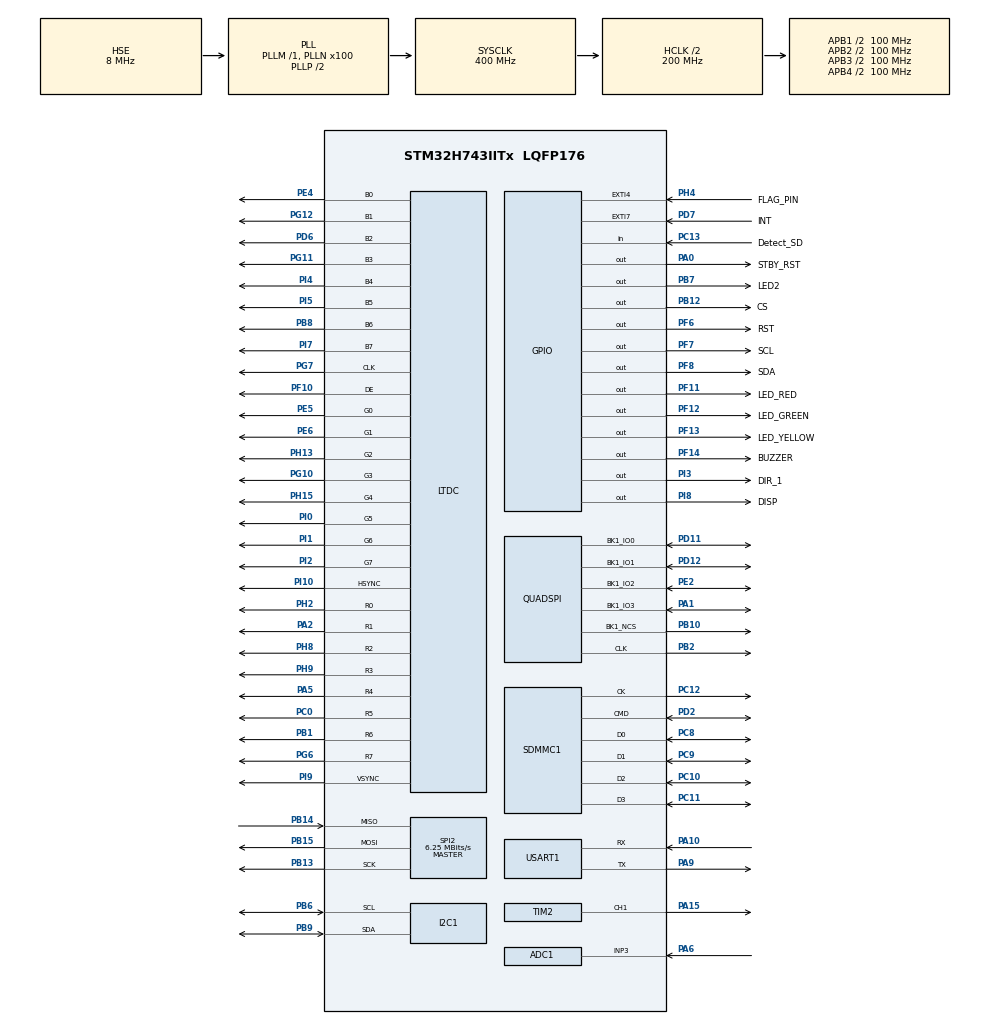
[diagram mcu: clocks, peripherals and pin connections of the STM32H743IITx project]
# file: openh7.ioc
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ADC1.Channel-0\#ChannelRegularConversion=ADC_CHANNEL_3
ADC1.NbrOfConversionFlag=1
ADC1.OffsetNumber-0\#ChannelRegularConversion=ADC_OFFSET_NONE
ADC1.OffsetSignedSaturation-0\#ChannelRegularConversion=DISABLE
ADC1.Rank-0\#ChannelRegularConversion=1
ADC1.SamplingTime-0\#ChannelRegularConversion=ADC_SAMPLETIME_1CYCLE_5
ADC1.master=1
ADC3.AWD1HighThreshold=15896
ADC3.AWD1ITMode=ENABLE
ADC3.AWD1LowThreshold=10881
ADC3.Channel-0\#ChannelRegularConversion=ADC_CHANNEL_TEMPSENSOR
ADC3.ContinuousConvMode=ENABLE
ADC3.EnableAnalogWatchDog1=true
ADC3.NbrOfConversionFlag=1
ADC3.OffsetNumber-0\#ChannelRegularConversion=ADC_OFFSET_NONE
ADC3.OffsetSignedSaturation-0\#ChannelRegularConversion=DISABLE
ADC3.Rank-0\#ChannelRegularConversion=1
ADC3.SamplingTime-0\#ChannelRegularConversion=ADC_SAMPLETIME_810CYCLES_5
ADC3.WatchdogChannel=ADC_CHANNEL_TEMPSENSOR
CORTEX_M7.CPU_DCache=Enabled
CORTEX_M7.CPU_ICache=Enabled
DMA2D.ColorMode=DMA2D_OUTPUT_RGB565
FATFS.BSP.number=1
FATFS0.BSP.STBoard=false
FATFS0.BSP.api=Unknown
FATFS0.BSP.i2caddr=0
FATFS0.BSP.instance=PC13
FATFS0.BSP.ip=GPIO
FATFS0.BSP.mode=Input
FATFS0.BSP.name=Detect_SDIO
FATFS0.BSP.solution=PC13
FREERTOS.Queues01=InfusionQ,8,perfusionFV_parameters,0,Dynamic,NULL,NULL;VolumeQ,8,float,0,Dynamic,NULL,NULL;FlowRateQ,8,float,0,Dynamic,NULL,NULL;TimeQ,8,float,0,Dynamic,NULL,NULL;LastStepQ,2,uint16_t,0,Dynamic,NULL,NULL;RadiusQ,2,uint8_t,0,Dynamic,NULL,NULL;VolumeLeftQ,8,float,0,Dynamic,NULL,NULL;ModeQ,8,uint8_t,0,Dynamic,NULL,NULL;LogQ,16,Log,0,Dynamic,NULL,NULL;AlarmsQ,8,uint8_t,0,Dynamic,NULL,NULL;patientQ,4,patient_dataT,0,Dynamic,NULL,NULL;drugQ,2,DrugT,0,Dynamic,NULL,NULL;BatteryQ,2,battery_info,0,Dynamic,NULL,NULL;TotalVolQ,2,float,0,Dynamic,NULL,NULL
FREERTOS.Tasks01=battery_manage,24,128,StartBatteryManage,Default,NULL,Dynamic,NULL,NULL;Stepper,40,256,Stepper_motor,Default,NULL,Dynamic,NULL,NULL;Connectivity,32,128,Cloud_Connectivity,Default,NULL,Dynamic,NULL,NULL;Sensors,24,256,Sensors_measurements,Default,NULL,Dynamic,NULL,NULL;IHM,25,128,Interface,Default,NULL,Dynamic,NULL,NULL;DataStorage,16,256,StartDataStorage,Default,NULL,Dynamic,NULL,NULL;TouchGFXTask,40,4096,TouchGFX_Task,As external,NULL,Dynamic,NULL,NULL
FREERTOS.configENABLE_FPU=1
FREERTOS.configTOTAL_HEAP_SIZE=32888
FREERTOS.configUSE_NEWLIB_REENTRANT=1
I2C1.SMBusPacketErrorCheckMode=SMBUS_PEC_DISABLE
I2C1.SMBusPeripheralMode=SMBUS_PERIPHERAL_MODE_SMBUS_HOST
I2C1.Timeout=0x000084C4
I2C1.Timing=0x10C0ECFF
LTDC.ActiveH=272
LTDC.ActiveW=480
LTDC.Alpha_L0=255
LTDC.FBStartAdress_L0=0x24000000
LTDC.HBP=3
LTDC.HSync=40
LTDC.ImageHeight_L0=272
LTDC.ImageWidth_L0=480
LTDC.Layers=0
LTDC.PixelFormat_L0=LTDC_PIXEL_FORMAT_RGB565
LTDC.VBP=3
LTDC.VFP=2
LTDC.VSync=9
LTDC.WindowX1_L0=480
LTDC.WindowY1_L0=272
Mcu.Family=STM32H7
Mcu.Name=STM32H743IITx
Mcu.Package=LQFP176
NVIC.ADC3_IRQn=true\:5\:0\:false\:false\:true\:true\:true\:true\:true
NVIC.EXTI4_IRQn=true\:5\:0\:false\:false\:true\:true\:true\:true\:true
NVIC.I2C1_ER_IRQn=true\:5\:0\:false\:false\:true\:true\:true\:true\:true
NVIC.I2C1_EV_IRQn=true\:5\:0\:false\:false\:true\:true\:true\:true\:true
NVIC.LTDC_IRQn=true\:5\:0\:false\:false\:true\:true\:true\:true\:true
NVIC.PriorityGroup=NVIC_PRIORITYGROUP_4
NVIC.SDMMC1_IRQn=true\:5\:0\:false\:false\:true\:true\:true\:true\:true
NVIC.TIM2_IRQn=true\:5\:0\:false\:false\:true\:true\:true\:true\:true
NVIC.TIM3_IRQn=true\:0\:0\:false\:false\:true\:false\:false\:true\:true
NVIC.TimeBase=TIM3_IRQn
NVIC.TimeBaseIP=TIM3
NVIC.USART1_IRQn=true\:5\:0\:false\:false\:true\:true\:true\:true\:true
PA0.GPIO_Label=STBY_RST
PA0.Signal=GPIO_Output
PA1.Mode=Single Bank 1
PA1.Signal=QUADSPI_BK1_IO3
PA10.Mode=Asynchronous
PA10.Signal=USART1_RX
PA13\ (JTMS/SWDIO).Mode=Serial_Wire
PA13\ (JTMS/SWDIO).Signal=DEBUG_JTMS-SWDIO
PA14\ (JTCK/SWCLK).Mode=Serial_Wire
PA14\ (JTCK/SWCLK).Signal=DEBUG_JTCK-SWCLK
PA15\ (JTDI).Signal=S_TIM2_CH1
PA2.Mode=RGB888
PA2.Signal=LTDC_R1
PA5.Mode=RGB888
PA5.Signal=LTDC_R4
PA6.Signal=ADCx_INP3
PA9.Mode=Asynchronous
PA9.Signal=USART1_TX
PB1.Mode=RGB888
PB1.Signal=LTDC_R6
PB10.Mode=Single Bank 1
PB10.Signal=QUADSPI_BK1_NCS
PB12.GPIO_Label=CS
PB12.Signal=GPIO_Output
PB13.Mode=Full_Duplex_Master
PB13.Signal=SPI2_SCK
PB14.Mode=Full_Duplex_Master
PB14.Signal=SPI2_MISO
PB15.Mode=Full_Duplex_Master
PB15.Signal=SPI2_MOSI
PB2.Mode=Single Bank 1
PB2.Signal=QUADSPI_CLK
PB6.Mode=SMBus-two-wire-Interface
PB6.Signal=I2C1_SCL
PB7.GPIO_Label=LED2
PB7.PinState=GPIO_PIN_RESET
PB7.Signal=GPIO_Output
PB8.Mode=RGB888
PB8.Signal=LTDC_B6
PB9.Mode=SMBus-two-wire-Interface
PB9.Signal=I2C1_SDA
PC0.Mode=RGB888
PC0.Signal=LTDC_R5
PC10.Mode=SD_4_bits_Wide_bus
PC10.Signal=SDMMC1_D2
PC11.Mode=SD_4_bits_Wide_bus
PC11.Signal=SDMMC1_D3
PC12.Mode=SD_4_bits_Wide_bus
PC12.Signal=SDMMC1_CK
PC13.GPIO_Label=Detect_SD
PC13.Signal=GPIO_Input
PC8.Mode=SD_4_bits_Wide_bus
PC8.Signal=SDMMC1_D0
PC9.Mode=SD_4_bits_Wide_bus
PC9.Signal=SDMMC1_D1
PD11.Mode=Single Bank 1
PD11.Signal=QUADSPI_BK1_IO0
PD12.Mode=Single Bank 1
PD12.Signal=QUADSPI_BK1_IO1
PD2.Mode=SD_4_bits_Wide_bus
PD2.Signal=SDMMC1_CMD
PD6.Mode=RGB888
PD6.Signal=LTDC_B2
PD7.GPIO_Label=INT
PD7.Signal=GPXTI7
PE2.Mode=Single Bank 1
PE2.Signal=QUADSPI_BK1_IO2
PE4.Mode=RGB888
PE4.Signal=LTDC_B0
PE5.Mode=RGB888
PE5.Signal=LTDC_G0
PE6.Mode=RGB888
PE6.Signal=LTDC_G1
PF10.Mode=RGB888
PF10.Signal=LTDC_DE
PF11.GPIO_Label=LED_RED
PF11.Signal=GPIO_Output
PF12.GPIO_Label=LED_GREEN
PF12.Signal=GPIO_Output
PF13.GPIO_Label=LED_YELLOW
PF13.Signal=GPIO_Output
PF14.GPIO_Label=BUZZER
PF14.Signal=GPIO_Output
PF6.GPIO_Label=RST
PF6.Signal=GPIO_Output
PF7.GPIO_Label=SCL
PF7.Signal=GPIO_Output
PF8.GPIO_Label=SDA
PF8.Signal=GPIO_Output
PG10.Mode=RGB888
PG10.Signal=LTDC_G3
PG11.Mode=RGB888
PG11.Signal=LTDC_B3
PG12.Mode=RGB888
PG12.Signal=LTDC_B1
PG6.Mode=RGB888
PG6.Signal=LTDC_R7
PG7.Mode=RGB888
PG7.Signal=LTDC_CLK
PH0-OSC_IN\ (PH0).Mode=HSE-External-Oscillator
PH0-OSC_IN\ (PH0).Signal=RCC_OSC_IN
PH1-OSC_OUT\ (PH1).Mode=HSE-External-Oscillator
PH1-OSC_OUT\ (PH1).Signal=RCC_OSC_OUT
PH13.Mode=RGB888
PH13.Signal=LTDC_G2
PH15.Mode=RGB888
PH15.Signal=LTDC_G4
PH2.Mode=RGB888
PH2.Signal=LTDC_R0
PH4.GPIO_Label=FLAG_PIN
PH4.GPIO_ModeDefaultEXTI=GPIO_MODE_IT_FALLING
PH4.GPIO_PuPd=GPIO_PULLUP
PH4.Signal=GPXTI4
PH8.Mode=RGB888
PH8.Signal=LTDC_R2
PH9.Mode=RGB888
PH9.Signal=LTDC_R3
PI0.Mode=RGB888
PI0.Signal=LTDC_G5
PI1.Mode=RGB888
PI1.Signal=LTDC_G6
PI10.Mode=RGB888
PI10.Signal=LTDC_HSYNC
PI2.Mode=RGB888
PI2.Signal=LTDC_G7
PI3.GPIO_Label=DIR_1
PI3.GPIO_Speed=GPIO_SPEED_FREQ_MEDIUM
PI3.Signal=GPIO_Output
PI4.Mode=RGB888
PI4.Signal=LTDC_B4
PI5.Mode=RGB888
PI5.Signal=LTDC_B5
PI7.Mode=RGB888
PI7.Signal=LTDC_B7
PI8.GPIO_Label=DISP
PI8.Signal=GPIO_Output
PI9.Mode=RGB888
PI9.Signal=LTDC_VSYNC
ProjectManager.HeapSize=0x200
ProjectManager.StackSize=0x400
ProjectManager.TargetToolchain=STM32CubeIDE
QUADSPI.ChipSelectHighTime=QSPI_CS_HIGH_TIME_2_CYCLE
QUADSPI.ClockPrescaler=8
QUADSPI.FlashSize=23
QUADSPI.SampleShifting=QSPI_SAMPLE_SHIFTING_HALFCYCLE
RCC.ADCFreq_Value=75000000
RCC.APB1Freq_Value=100000000
RCC.APB2Freq_Value=100000000
RCC.APB3Freq_Value=100000000
RCC.APB4Freq_Value=100000000
RCC.CortexFreq_Value=400000000
RCC.D1PPRE=RCC_APB3_DIV2
RCC.D2PPRE1=RCC_APB1_DIV2
RCC.D2PPRE2=RCC_APB2_DIV2
RCC.D3PPRE=RCC_APB4_DIV2
RCC.DIVM1=1
RCC.DIVM2=1
RCC.DIVM3=1
RCC.DIVN1=100
RCC.DIVN2=18
RCC.DIVN3=18
RCC.DIVQ1=4
RCC.DIVR3=1
RCC.HCLKFreq_Value=200000000
RCC.HPRE=RCC_HCLK_DIV2
RCC.HSE_VALUE=8000000
RCC.PLL2FRACN=6144
RCC.PLL3FRACN=6144
RCC.PLLFRACN=0
RCC.PLLSourceVirtual=RCC_PLLSOURCE_HSE
RCC.PWR_Regulator_Voltage_Scale=PWR_REGULATOR_VOLTAGE_SCALE1
RCC.SYSCLKFreq_VALUE=400000000
RCC.SYSCLKSource=RCC_SYSCLKSOURCE_PLLCLK
RCC.USBFreq_Value=200000000
RTC.Date=8
RTC.Hours=12
RTC.Month=RTC_MONTH_AUGUST
RTC.StoreOperation=RTC_STOREOPERATION_SET
RTC.WeekDay=RTC_WEEKDAY_TUESDAY
RTC.Year=22
SDMMC1.ClockDiv=1
SDMMC1.TransceiverPresent=SDMMC_TRANSCEIVER_NOT_PRESENT
SH.ADCx_INP3.0=ADC1_INP3,IN3-Single-Ended
SH.S_TIM2_CH1.0=TIM2_CH1,PWM Generation1 CH1
SPI2.BaudRatePrescaler=SPI_BAUDRATEPRESCALER_32
SPI2.CalculateBaudRate=6.25 MBits/s
SPI2.DataSize=SPI_DATASIZE_32BIT
SPI2.Direction=SPI_DIRECTION_2LINES
SPI2.Mode=SPI_MODE_MASTER
SPI2.VirtualType=VM_MASTER
STMicroelectronics.X-CUBE-TOUCHGFX.4.19.1.ApplicationCcGraphicsJjApplication=TouchGFXOoGenerator
STMicroelectronics.X-CUBE-TOUCHGFX.4.19.1.tgfx_address1=0x24000000
STMicroelectronics.X-CUBE-TOUCHGFX.4.19.1.tgfx_buffering_strategy=Single
STMicroelectronics.X-CUBE-TOUCHGFX.4.19.1.tgfx_display_interface=disp_ltdc
STMicroelectronics.X-CUBE-TOUCHGFX.4.19.1.tgfx_hardware_accelerator=dma_2d
STMicroelectronics.X-CUBE-TOUCHGFX.4.19.1.tgfx_location=By Address
STMicroelectronics.X-CUBE-TOUCHGFX.4.19.1.tgfx_vsync=vsync_ltdc
STMicroelectronics.X-CUBE-TOUCHGFX.4.19.1_IsPackSelfContextualization=true
TIM2.AutoReloadPreload=TIM_AUTORELOAD_PRELOAD_ENABLE
TIM2.Channel-PWM\ Generation1\ CH1=TIM_CHANNEL_1
TIM2.Period=10240
TIM2.Prescaler=1024
USART1.VirtualMode-Asynchronous=VM_ASYNC
VP_ADC3_TempSens_Input.Mode=IN-TempSens
VP_CRC_VS_CRC.Mode=CRC_Activate
VP_DMA2D_VS_DMA2D.Mode=DMA2D_Activate
VP_FATFS_VS_SDIO.Mode=SDIO
VP_FREERTOS_VS_CMSIS_V2.Mode=CMSIS_V2
VP_RTC_VS_RTC_Activate.Mode=RTC_Enabled
VP_RTC_VS_RTC_Calendar.Mode=RTC_Calendar
VP_STMicroelectronics.X-CUBE-TOUCHGFX_VS_GraphicsJjApplication_4.19.1.Mode=GraphicsJjApplication
VP_SYS_VS_tim3.Mode=TIM3
VP_TIM2_VS_ClockSourceINT.Mode=Internal
board=custom

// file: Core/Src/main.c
/* USER CODE BEGIN Header */
/**
  ******************************************************************************
  * @file           : main.c
  * @brief          : Main program body
  ******************************************************************************
  * @attention
  *
  * <h2><center>&copy; Copyright (c) 2022 STMicroelectronics.
  * All rights reserved.</center></h2>
  *
  * This software component is licensed by ST under BSD 3-Clause license,
  * the "License"; You may not use this file except in compliance with the
  * License. You may obtain a copy of the License at:
  *                        opensource.org/licenses/BSD-3-Clause
  *
  ******************************************************************************
  */
/* USER CODE END Header */
#include "main.h"
#include "cmsis_os.h"
#include "adc.h"
#include "crc.h"
#include "dma2d.h"
#include "fatfs.h"
#include "i2c.h"
#include "ltdc.h"
#include "quadspi.h"
#include "rtc.h"
#include "sdmmc.h"
#include "spi.h"
#include "tim.h"
#include "usart.h"
#include "gpio.h"
#include "app_touchgfx.h"

/* USER CODE BEGIN Includes */
#include "l6474.h"
#include "SW_common.h"
#include "stdio.h"
#include "stm32746g_qspi.h"
//#include "drv8825.h"

/* USER CODE END Includes */

/* USER CODE BEGIN PD */
#define SCREWSTEP 1.5
#define DMOTOR 15
#define	DSHAFT 45
/* USER CODE END PD */

void SystemClock_Config(void);
void PeriphCommonClock_Config(void);
void MX_FREERTOS_Init(void);

/* USER CODE BEGIN 0 */

int _write(int file, char *ptr, int len)
{
  /* Implement your write code here, this is used by puts and printf for example */
  int i=0;
  for(i=0 ; i<len ; i++)
    ITM_SendChar((*ptr++));
  return len;
}
/*L6474_Init_t gL6474InitParams =
  {
      1,                               /// Acceleration rate in step/s2. Range: (0..+inf).
      1,                               /// Deceleration rate in step/s2. Range: (0..+inf).
      1000,                              /// Maximum speed in step/s. Range: (30..10000].
      1000,                               ///Minimum speed in step/s. Range: [30..10000).
      250,                               ///Torque regulation current in mA. (TVAL register) Range: 31.25mA to 4000mA.
      750,                               ///Overcurrent threshold (OCD_TH register). Range: 375mA to 6000mA.
      L6474_CONFIG_OC_SD_ENABLE,         ///Overcurrent shutwdown (OC_SD field of CONFIG register).
      L6474_CONFIG_EN_TQREG_TVAL_USED,   /// Torque regulation method (EN_TQREG field of CONFIG register).
      L6474_STEP_SEL_1_16,               /// Step selection (STEP_SEL field of STEP_MODE register).
      L6474_SYNC_SEL_1_2,                /// Sync selection (SYNC_SEL field of STEP_MODE register).
      L6474_FAST_STEP_12us,              /// Fall time value (T_FAST field of T_FAST register). Range: 2us to 32us.
      L6474_TOFF_FAST_8us,               /// Maximum fast decay time (T_OFF field of T_FAST register). Range: 2us to 32us.
      3,                                 /// Minimum ON time in us (TON_MIN register). Range: 0.5us to 64us.
      21,                                /// Minimum OFF time in us (TOFF_MIN register). Range: 0.5us to 64us.
      L6474_CONFIG_TOFF_044us,           /// Target Swicthing Period (field TOFF of CONFIG register).
      L6474_CONFIG_SR_320V_us,           /// Slew rate (POW_SR field of CONFIG register).
      L6474_CONFIG_INT_16MHZ,            /// Clock setting (OSC_CLK_SEL field of CONFIG register).
      (L6474_ALARM_EN_OVERCURRENT      |
       L6474_ALARM_EN_THERMAL_SHUTDOWN |
       L6474_ALARM_EN_THERMAL_WARNING  |
       L6474_ALARM_EN_UNDERVOLTAGE     |
       L6474_ALARM_EN_SW_TURN_ON       |
       L6474_ALARM_EN_WRONG_NPERF_CMD)    /// Alarm (ALARM_EN register).
  };*/

__attribute__((section("TouchGFX_Framebuffer"))) uint8_t framebuffer[480 * 272 * 24 / 8];
/* USER CODE END 0 */

int main(void)
{
  /* USER CODE BEGIN 1 */
	//uint16_t* framebuffer = (uint16_t*)0xC0000000;  //16 bpp framebuffer

  /* USER CODE END 1 */

  /* Enable I-Cache---------------------------------------------------------*/
  SCB_EnableICache();

  /* Enable D-Cache---------------------------------------------------------*/
  SCB_EnableDCache();

  /* MCU Configuration--------------------------------------------------------*/

  /* Reset of all peripherals, Initializes the Flash interface and the Systick. */
  HAL_Init();

  /* Configure the system clock */
  SystemClock_Config();

/* Configure the peripherals common clocks */
  PeriphCommonClock_Config();

  /* Initialize all configured peripherals */
  MX_GPIO_Init();
  MX_SPI2_Init();
  MX_ADC3_Init();
  MX_I2C1_SMBUS_Init();
  MX_DMA2D_Init();
  MX_LTDC_Init();
  MX_CRC_Init();
  MX_TIM2_Init();
  MX_QUADSPI_Init();
  MX_ADC1_Init();
  MX_SDMMC1_SD_Init();
  MX_FATFS_Init();
  MX_USART1_UART_Init();
  MX_RTC_Init();
  MX_TouchGFX_Init();
  /* USER CODE BEGIN 2 */
  L6474_SetNbDevices(1);
  L6474_Init(NULL);
  L6474_SelectStepMode(0, STEP_MODE_1_16);
  L6474_AttachFlagInterrupt(MyFlagInterruptHandler);
  HAL_LTDC_SetAddress(&hltdc, framebuffer, LTDC_LAYER_1);
  HAL_GPIO_WritePin(GPIOB, GPIO_PIN_7,GPIO_PIN_SET );
  HAL_GPIO_WritePin (DISP_GPIO_Port, DISP_Pin, GPIO_PIN_SET); // Display
  /* USER CODE END 2 */

  /* Init scheduler */
  osKernelInitialize();  /* Call init function for freertos objects (in freertos.c) */
  MX_FREERTOS_Init();
  /* Start scheduler */
  osKernelStart();

  /* We should never get here as control is now taken by the scheduler */
  /* Infinite loop */
  while (1)
  {

  }
}

void SystemClock_Config(void)
{
  RCC_OscInitTypeDef RCC_OscInitStruct = {0};
  RCC_ClkInitTypeDef RCC_ClkInitStruct = {0};

  /** Supply configuration update enable
  */
  HAL_PWREx_ConfigSupply(PWR_LDO_SUPPLY);
  /** Configure the main internal regulator output voltage
  */
  __HAL_PWR_VOLTAGESCALING_CONFIG(PWR_REGULATOR_VOLTAGE_SCALE1);

  while(!__HAL_PWR_GET_FLAG(PWR_FLAG_VOSRDY)) {}
  /** Macro to configure the PLL clock source
  */
  __HAL_RCC_PLL_PLLSOURCE_CONFIG(RCC_PLLSOURCE_HSE);
  /** Initializes the RCC Oscillators according to the specified parameters
  * in the RCC_OscInitTypeDef structure.
  */
  RCC_OscInitStruct.OscillatorType = RCC_OSCILLATORTYPE_LSI|RCC_OSCILLATORTYPE_HSE;
  RCC_OscInitStruct.HSEState = RCC_HSE_ON;
  RCC_OscInitStruct.LSIState = RCC_LSI_ON;
  RCC_OscInitStruct.PLL.PLLState = RCC_PLL_ON;
  RCC_OscInitStruct.PLL.PLLSource = RCC_PLLSOURCE_HSE;
  RCC_OscInitStruct.PLL.PLLM = 1;
  RCC_OscInitStruct.PLL.PLLN = 100;
  RCC_OscInitStruct.PLL.PLLP = 2;
  RCC_OscInitStruct.PLL.PLLQ = 4;
  RCC_OscInitStruct.PLL.PLLR = 2;
  RCC_OscInitStruct.PLL.PLLRGE = RCC_PLL1VCIRANGE_3;
  RCC_OscInitStruct.PLL.PLLVCOSEL = RCC_PLL1VCOWIDE;
  RCC_OscInitStruct.PLL.PLLFRACN = 0;
  if (HAL_RCC_OscConfig(&RCC_OscInitStruct) != HAL_OK)
  {
    Error_Handler();
  }
  /** Initializes the CPU, AHB and APB buses clocks
  */
  RCC_ClkInitStruct.ClockType = RCC_CLOCKTYPE_HCLK|RCC_CLOCKTYPE_SYSCLK
                              |RCC_CLOCKTYPE_PCLK1|RCC_CLOCKTYPE_PCLK2
                              |RCC_CLOCKTYPE_D3PCLK1|RCC_CLOCKTYPE_D1PCLK1;
  RCC_ClkInitStruct.SYSCLKSource = RCC_SYSCLKSOURCE_PLLCLK;
  RCC_ClkInitStruct.SYSCLKDivider = RCC_SYSCLK_DIV1;
  RCC_ClkInitStruct.AHBCLKDivider = RCC_HCLK_DIV2;
  RCC_ClkInitStruct.APB3CLKDivider = RCC_APB3_DIV2;
  RCC_ClkInitStruct.APB1CLKDivider = RCC_APB1_DIV2;
  RCC_ClkInitStruct.APB2CLKDivider = RCC_APB2_DIV2;
  RCC_ClkInitStruct.APB4CLKDivider = RCC_APB4_DIV2;

  if (HAL_RCC_ClockConfig(&RCC_ClkInitStruct, FLASH_LATENCY_2) != HAL_OK)
  {
    Error_Handler();
  }
}

void PeriphCommonClock_Config(void)
{
  RCC_PeriphCLKInitTypeDef PeriphClkInitStruct = {0};

  /** Initializes the peripherals clock
  */
  PeriphClkInitStruct.PeriphClockSelection = RCC_PERIPHCLK_ADC;
  PeriphClkInitStruct.PLL2.PLL2M = 1;
  PeriphClkInitStruct.PLL2.PLL2N = 18;
  PeriphClkInitStruct.PLL2.PLL2P = 2;
  PeriphClkInitStruct.PLL2.PLL2Q = 2;
  PeriphClkInitStruct.PLL2.PLL2R = 2;
  PeriphClkInitStruct.PLL2.PLL2RGE = RCC_PLL2VCIRANGE_3;
  PeriphClkInitStruct.PLL2.PLL2VCOSEL = RCC_PLL2VCOMEDIUM;
  PeriphClkInitStruct.PLL2.PLL2FRACN = 6144;
  PeriphClkInitStruct.AdcClockSelection = RCC_ADCCLKSOURCE_PLL2;
  if (HAL_RCCEx_PeriphCLKConfig(&PeriphClkInitStruct) != HAL_OK)
  {
    Error_Handler();
  }
}

/* USER CODE BEGIN 4 */
//stepper driver interrupt
void MyFlagInterruptHandler(void)
{
  /* Get the value of the status register via the L6474 command GET_STATUS */
  uint16_t statusRegister = L6474_CmdGetStatus(0);

  /* Check HIZ flag: if set, power brigdes are disabled */
  if ((statusRegister & L6474_STATUS_HIZ) == L6474_STATUS_HIZ)
  {
    // HIZ state
    // Action to be customized
  }

  /* Check direction bit */
  if ((statusRegister & L6474_STATUS_DIR) == L6474_STATUS_DIR)
  {
    // Forward direction is set
    // Action to be customized
  }
  else
  {
    // Backward direction is set
    // Action to be customized
  }

  /* Check NOTPERF_CMD flag: if set, the command received by SPI can't be performed */
  /* This often occures when a command is sent to the L6474 */
  /* while it is in HIZ state */
  if ((statusRegister & L6474_STATUS_NOTPERF_CMD) == L6474_STATUS_NOTPERF_CMD)
  {
      // Command received by SPI can't be performed
	  int count=0;
	  count++;
	  if(count>=5){
		  Alarm_Action(MOTOR_DRIVER_NOT_RESPONSDING);
		  count=0;
	  }
     // Action to be customized
  }

  /* Check WRONG_CMD flag: if set, the command does not exist */
  if ((statusRegister & L6474_STATUS_WRONG_CMD) == L6474_STATUS_WRONG_CMD)
  {
     //command received by SPI does not exist
     // Action to be customized
  }

  /* Check UVLO flag: if not set, there is an undervoltage lock-out */
  if ((statusRegister & L6474_STATUS_UVLO) == 0)
  {
     //undervoltage lock-out
     // Action to be customized
	  Alarm_Action(MOTOR_UNDERVOLTAGE);
  }

  /* Check TH_WRN flag: if not set, the thermal warning threshold is reached */
  if ((statusRegister & L6474_STATUS_TH_WRN) == 0)
  {
    //thermal warning threshold is reached
    // Action to be customized
	  Alarm_Action(MOTOR_THERMAL_OVERHEAT);
  }

  /* Check TH_SHD flag: if not set, the thermal shut down threshold is reached */
  if ((statusRegister & L6474_STATUS_TH_SD) == 0)
  {
    //thermal shut down threshold is reached
    // Action to be customized
	  Alarm_Action(MOTOR_THERMAL_SHUTDOWN);

  }

  /* Check OCD  flag: if not set, there is an overcurrent detection */
  if ((statusRegister & L6474_STATUS_OCD) == 0)
  {
    //overcurrent detection
    // Action to be customized
	  Alarm_Action(MOTOR_OVERCURRENT);
  }

}
// cpu temp interrupt
void HAL_ADC_LevelOutOfWindowCallback(ADC_HandleTypeDef *hadc){
	// do something in case of analog watchdog interrupts
	Alarm_Action(MOTOR_THERMAL_OVERHEAT);
	HAL_ADC_Stop_IT(hadc);

}

// returns the speed of Screws (mm/s) needed for a given flow_rate (mm^3/h) and syringe radius(mm)
float Screws_Speed_From_FlowRate(float flow_rate , float radius ){
	float section = radius*radius*3.14159;
	flow_rate = flow_rate/3600;
	return flow_rate/section;
}
// returns the speed of Screws needed for a given fluid volume(mm^3) , time(seconds) and radius
float Screws_Speed_From_Time_And_Volume(float time , float volume,uint8_t radius){
	return Screws_Speed_From_FlowRate(volume/time,radius) ;
}
// returns the shaft speed needed (rps) to drive the screws
float Shaft_speed (float screwspeed){
	return screwspeed / (SCREWSTEP);
}
// returns the motor speed needed (rps) to drive the shaft
float Motor_Speed(float shaftspeed){

	return (DSHAFT*shaftspeed)/DMOTOR;
}
//return number of seconds to finish the injection
float Time_Needed(float flow_rate, float volume_to_inject){
	flow_rate = flow_rate/3600;
	return (volume_to_inject/flow_rate);
}

void SyringeMove(float FlowRate , uint8_t radius){
	float screwspeed , motorspeed,shaftspeed;
	int pps;
	screwspeed = Screws_Speed_From_FlowRate(FlowRate,radius);
	shaftspeed =Shaft_speed(screwspeed);
	motorspeed = Motor_Speed(shaftspeed);
	pps=motorspeed*200*16; // 1/16 microstep
	L6474_SetMaxSpeed(0,pps);
	L6474_SetMinSpeed(0, pps);
	L6474_Run(0, BACKWARD);
	/*drv8825_setSpeedRPM(drv8825, motorspeed*60);
	drv8825_setEn(drv8825, EN_START);*/
}
void SyringeStop(){
		//drv8825_setEn(drv8825, EN_STOP);
	L6474_HardStop(0);
	L6474_HizStop(0);

}

uint16_t map(uint16_t x, uint16_t in_min, uint16_t in_max, uint16_t out_min, uint16_t out_max) {
  return (x - in_min) * (out_max - out_min) / (in_max - in_min) + out_min;
}
uint16_t position(){
	uint16_t readValue,traveled_steps,count=0 ;
	HAL_ADC_Start(&hadc1);
	HAL_ADC_PollForConversion(&hadc1, 100);
	readValue = HAL_ADC_GetValue(&hadc1);
	/*traveled_steps=map(readValue, 0, 65535,0 ,2000)+(count*2000); // 10tours * 200steps
	if(traveled_steps%2000==0)
		count++;*/
	printf("%u",(unsigned int)readValue);
	return readValue;
}
float calculate_volume_left(uint16_t traveled_steps ,float flowrate ,float volume_to_inject ){
	float injectedVolume , speed =(L6474_GetCurrentSpeed(0)/16);
	injectedVolume = (traveled_steps / speed)*(flowrate/3600);
	return (volume_to_inject-injectedVolume);
}

/* USER CODE END 4 */

 /**
  * @brief  Period elapsed callback in non blocking mode
  * @note   This function is called  when TIM3 interrupt took place, inside
  * HAL_TIM_IRQHandler(). It makes a direct call to HAL_IncTick() to increment
  * a global variable "uwTick" used as application time base.
  * @param  htim : TIM handle
  * @retval None
  */
void HAL_TIM_PeriodElapsedCallback(TIM_HandleTypeDef *htim)
{
  if (htim->Instance == TIM3) {
    HAL_IncTick();
  }
}

void Error_Handler(void)
{
  /* USER CODE BEGIN Error_Handler_Debug */
  /* User can add his own implementation to report the HAL error return state */
  __disable_irq();
  while (1)
  {
	  Alerts_Action(INTERNAL_ERROR);
  }
  /* USER CODE END Error_Handler_Debug */
}

/************************ (C) COPYRIGHT STMicroelectronics *****END OF FILE****/

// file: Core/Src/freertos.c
/* USER CODE BEGIN Header */
/**
 ******************************************************************************
 * File Name          : freertos.c
 * Description        : Code for freertos applications
 ******************************************************************************
 * @attention
 *
 * <h2><center>&copy; Copyright (c) 2022 STMicroelectronics.
 * All rights reserved.</center></h2>
 *
 * This software component is licensed by ST under Ultimate Liberty license
 * SLA0044, the "License"; You may not use this file except in compliance with
 * the License. You may obtain a copy of the License at:
 *                             www.st.com/SLA0044
 *
 ******************************************************************************
 */
/* USER CODE END Header */

#include "FreeRTOS.h"
#include "task.h"
#include "main.h"
#include "cmsis_os.h"

/* USER CODE BEGIN Includes */
#include "l6474.h"
#include "fatfs.h"
#include "tim.h"
#include "adc.h"
#include "usart.h"
#include "SW_common.h"
#include "stdio.h"
#include "spi.h"
#include "Sim7600.h"
#include "batt.h"
//#include "drv8825.h"
/* USER CODE END Includes */

/* USER CODE BEGIN Variables */

//drv8825* drv;
/* USER CODE END Variables */
/* Definitions for battery_manage */
osThreadId_t battery_manageHandle;
const osThreadAttr_t battery_manage_attributes = {
  .name = "battery_manage",
  .stack_size = 128 * 4,
  .priority = (osPriority_t) osPriorityNormal,
};
/* Definitions for Stepper */
osThreadId_t StepperHandle;
const osThreadAttr_t Stepper_attributes = {
  .name = "Stepper",
  .stack_size = 256 * 4,
  .priority = (osPriority_t) osPriorityHigh,
};
/* Definitions for Connectivity */
osThreadId_t ConnectivityHandle;
const osThreadAttr_t Connectivity_attributes = {
  .name = "Connectivity",
  .stack_size = 128 * 4,
  .priority = (osPriority_t) osPriorityAboveNormal,
};
/* Definitions for Sensors */
osThreadId_t SensorsHandle;
const osThreadAttr_t Sensors_attributes = {
  .name = "Sensors",
  .stack_size = 256 * 4,
  .priority = (osPriority_t) osPriorityNormal,
};
/* Definitions for IHM */
osThreadId_t IHMHandle;
const osThreadAttr_t IHM_attributes = {
  .name = "IHM",
  .stack_size = 128 * 4,
  .priority = (osPriority_t) osPriorityNormal1,
};
/* Definitions for DataStorage */
osThreadId_t DataStorageHandle;
const osThreadAttr_t DataStorage_attributes = {
  .name = "DataStorage",
  .stack_size = 256 * 4,
  .priority = (osPriority_t) osPriorityBelowNormal,
};
/* Definitions for TouchGFXTask */
osThreadId_t TouchGFXTaskHandle;
const osThreadAttr_t TouchGFXTask_attributes = {
  .name = "TouchGFXTask",
  .stack_size = 4096 * 4,
  .priority = (osPriority_t) osPriorityHigh,
};
/* Definitions for InfusionQ */
osMessageQueueId_t InfusionQHandle;
const osMessageQueueAttr_t InfusionQ_attributes = {
  .name = "InfusionQ"
};
/* Definitions for VolumeQ */
osMessageQueueId_t VolumeQHandle;
const osMessageQueueAttr_t VolumeQ_attributes = {
  .name = "VolumeQ"
};
/* Definitions for FlowRateQ */
osMessageQueueId_t FlowRateQHandle;
const osMessageQueueAttr_t FlowRateQ_attributes = {
  .name = "FlowRateQ"
};
/* Definitions for TimeQ */
osMessageQueueId_t TimeQHandle;
const osMessageQueueAttr_t TimeQ_attributes = {
  .name = "TimeQ"
};
/* Definitions for LastStepQ */
osMessageQueueId_t LastStepQHandle;
const osMessageQueueAttr_t LastStepQ_attributes = {
  .name = "LastStepQ"
};
/* Definitions for RadiusQ */
osMessageQueueId_t RadiusQHandle;
const osMessageQueueAttr_t RadiusQ_attributes = {
  .name = "RadiusQ"
};
/* Definitions for VolumeLeftQ */
osMessageQueueId_t VolumeLeftQHandle;
const osMessageQueueAttr_t VolumeLeftQ_attributes = {
  .name = "VolumeLeftQ"
};
/* Definitions for ModeQ */
osMessageQueueId_t ModeQHandle;
const osMessageQueueAttr_t ModeQ_attributes = {
  .name = "ModeQ"
};
/* Definitions for LogQ */
osMessageQueueId_t LogQHandle;
const osMessageQueueAttr_t LogQ_attributes = {
  .name = "LogQ"
};
/* Definitions for AlarmsQ */
osMessageQueueId_t AlarmsQHandle;
const osMessageQueueAttr_t AlarmsQ_attributes = {
  .name = "AlarmsQ"
};
/* Definitions for patientQ */
osMessageQueueId_t patientQHandle;
const osMessageQueueAttr_t patientQ_attributes = {
  .name = "patientQ"
};
/* Definitions for drugQ */
osMessageQueueId_t drugQHandle;
const osMessageQueueAttr_t drugQ_attributes = {
  .name = "drugQ"
};
/* Definitions for BatteryQ */
osMessageQueueId_t BatteryQHandle;
const osMessageQueueAttr_t BatteryQ_attributes = {
  .name = "BatteryQ"
};
/* Definitions for TotalVolQ */
osMessageQueueId_t TotalVolQHandle;
const osMessageQueueAttr_t TotalVolQ_attributes = {
  .name = "TotalVolQ"
};

/* USER CODE BEGIN FunctionPrototypes */
// stepper interrupts
void MyFlagInterruptHandler(void);
// cpu temp interrupts
void HAL_ADC_LevelOutOfWindowCallback(ADC_HandleTypeDef *hadc);
// returns the speed of Screws needed for a given flow_rate (mm/h) and syringe radius(mm)
float Screws_Speed_From_FlowRate(float flow_rate, float radius);
// returns the speed of Screws needed for a given fluid volume , time and radius
float Screws_Speed_From_Time_And_Volume(float time, float volume,
		uint8_t radius);
// returns the motor speed needed
float Motor_Speed(float shaftspeed);
//returns the shaft speed
float Shaft_speed(float screwspeed);
//Move the Syringe
void SyringeMove(float FlowRate, uint8_t radius);
// mapping values
uint16_t map(uint16_t x, uint16_t in_min, uint16_t in_max, uint16_t out_min,
		uint16_t out_max);
// return number of seconds to finish the injection
float Time_Needed(float flow_rate, float volume_to_inject);
// calculate volume left
float calculate_volume_left(uint16_t traveled_steps, float flowrate,
		float volume_to_inject);
// stepper position
uint16_t position();
//stop syringe
void SyringeStop();
/* USER CODE END FunctionPrototypes */

void StartBatteryManage(void *argument);
void Stepper_motor(void *argument);
void Cloud_Connectivity(void *argument);
void Sensors_measurements(void *argument);
void Interface(void *argument);
void StartDataStorage(void *argument);
extern void TouchGFX_Task(void *argument);

void MX_FREERTOS_Init(void); /* (MISRA C 2004 rule 8.1) */

void MX_FREERTOS_Init(void) {

  /* Create the queue(s) */
  /* creation of InfusionQ */
  InfusionQHandle = osMessageQueueNew (8, sizeof(perfusionFV_parameters), &InfusionQ_attributes);

  /* creation of VolumeQ */
  VolumeQHandle = osMessageQueueNew (8, sizeof(float), &VolumeQ_attributes);

  /* creation of FlowRateQ */
  FlowRateQHandle = osMessageQueueNew (8, sizeof(float), &FlowRateQ_attributes);

  /* creation of TimeQ */
  TimeQHandle = osMessageQueueNew (8, sizeof(float), &TimeQ_attributes);

  /* creation of LastStepQ */
  LastStepQHandle = osMessageQueueNew (2, sizeof(uint16_t), &LastStepQ_attributes);

  /* creation of RadiusQ */
  RadiusQHandle = osMessageQueueNew (2, sizeof(uint8_t), &RadiusQ_attributes);

  /* creation of VolumeLeftQ */
  VolumeLeftQHandle = osMessageQueueNew (8, sizeof(float), &VolumeLeftQ_attributes);

  /* creation of ModeQ */
  ModeQHandle = osMessageQueueNew (8, sizeof(uint8_t), &ModeQ_attributes);

  /* creation of LogQ */
  LogQHandle = osMessageQueueNew (16, sizeof(Log), &LogQ_attributes);

  /* creation of AlarmsQ */
  AlarmsQHandle = osMessageQueueNew (8, sizeof(uint8_t), &AlarmsQ_attributes);

  /* creation of patientQ */
  patientQHandle = osMessageQueueNew (4, sizeof(patient_dataT), &patientQ_attributes);

  /* creation of drugQ */
  drugQHandle = osMessageQueueNew (2, sizeof(DrugT), &drugQ_attributes);

  /* creation of BatteryQ */
  BatteryQHandle = osMessageQueueNew (2, sizeof(battery_info), &BatteryQ_attributes);

  /* creation of TotalVolQ */
  TotalVolQHandle = osMessageQueueNew (2, sizeof(float), &TotalVolQ_attributes);

  /* Create the thread(s) */
  /* creation of battery_manage */
  battery_manageHandle = osThreadNew(StartBatteryManage, NULL, &battery_manage_attributes);

  /* creation of Stepper */
  StepperHandle = osThreadNew(Stepper_motor, NULL, &Stepper_attributes);

  /* creation of Connectivity */
  ConnectivityHandle = osThreadNew(Cloud_Connectivity, NULL, &Connectivity_attributes);

  /* creation of Sensors */
  SensorsHandle = osThreadNew(Sensors_measurements, NULL, &Sensors_attributes);

  /* creation of IHM */
  IHMHandle = osThreadNew(Interface, NULL, &IHM_attributes);

  /* creation of DataStorage */
  DataStorageHandle = osThreadNew(StartDataStorage, NULL, &DataStorage_attributes);

  /* creation of TouchGFXTask */
  TouchGFXTaskHandle = osThreadNew(TouchGFX_Task, NULL, &TouchGFXTask_attributes);

}

void StartBatteryManage(void *argument)
{
  /* USER CODE BEGIN StartBatteryManage */
	battery_info battstate;
	/* Infinite loop */
	for (;;) {
		uint16_t percent = relativeStateOfCharge();
		battstate.charge_level = (uint8_t) percent;

		uint16_t timetoempty = runtimetoempty();
		battstate.TimeToEmpty = (uint8_t) timetoempty;
		osMessageQueuePut(BatteryQHandle, &battstate, 1, 1);
		if (timetoempty <= 10)
			Alarm_Action(BATTERY_CHHARGE_DEPLETED);
		if (timetoempty <= 120)
			Alerts_Action(BATTERY_LOW_CHARGE);

		uint16_t Amps = current(); //mA
		if (Amps < 10)
			Alerts_Action(BATTERY_UNDERCURRENT);
		if (Amps > 5000) // amps threshhold
			Alarm_Action(BATTERY_OVERCURRENT);

		float battemp = temperature();
		if (battemp >= 80)
			Alarm_Action(BATTERY_OVERHEAT);
		if (battemp <= -20)
			Alerts_Action(BATTERY_UNDERHEAT);
		osDelay(100);
	}
  /* USER CODE END StartBatteryManage */
}

void Stepper_motor(void *argument)
{
  /* USER CODE BEGIN Stepper_motor */
	float Flowrate = 0, prevFlow=0, radius = 17;
	float volume_to_inject = 0;
	int timeneeded = 0;
	uint8_t mode = 0;
	uint16_t laststep;
	/* Infinite loop */
	for (;;) {
		osMessageQueueGet(FlowRateQHandle, &Flowrate, 10U, 100);
		osMessageQueueGet(VolumeQHandle, &volume_to_inject, 10U, 100);
		osMessageQueueGet(ModeQHandle, &mode, 10U, 100U);
		if (Flowrate != 0 && volume_to_inject != 0 && mode == 1) {
			timeneeded = Time_Needed(Flowrate, volume_to_inject);
			laststep = timeneeded * (L6474_GetCurrentSpeed(0) / 16); //1/16 microstep
			osMessageQueuePut(LastStepQHandle, &laststep, 1, 100);
			if (Flowrate != prevFlow) {
				SyringeMove(Flowrate, radius);
				Default_Event_Action(PERFUSION_STARTED);
				prevFlow = Flowrate;
			}
		}
		// ***** 0 => StopMode , 8=> PauseMode *******
		if ((mode == 0 || mode == 8)) {
			SyringeStop();
			Default_Event_Action(PERFUSION_STOPPED);
		}
		osDelay(10);
	}
  /* USER CODE END Stepper_motor */
}

void Cloud_Connectivity(void *argument)
{
  /* USER CODE BEGIN Cloud_Connectivity */
	float Flowrate = 0, Timeleft = 0, Volumeleft = 0,Totalvol;
	Log data;
	uint8_t event;
	battery_info battstate;
	patient_dataT patient;
	DrugT drug;
	/********** UNIQUE ID ***********/
	uint32_t (*unique_id_1) = (uint32_t*) (0x1FF1E800); // BASE address (reference manual stm32h743)
	uint32_t (*unique_id_2) = (uint32_t*) (0x1FF1E804); // BASE address + 0x04 offset
	uint32_t (*unique_id_3) = (uint32_t*) (0x1FF1E808); // BASE address + 0x08 offset
	char Id[85];
	char URL[200];
	sprintf(Id, "%lu%lu%lu", *unique_id_1, *unique_id_2, *unique_id_3);
	sprintf(URL,
			"https://syringe-pump-3dfa0-default-rtdb.firebaseio.com/%s.json?auth=hFIEWKyzyanM7PqnRRfPN5LXJFbDMZQ5Sr2dHDTF",
			Id);
	/* Infinite loop */
	for (;;) {
		osMessageQueueGet(FlowRateQHandle, &Flowrate, 2, 100);
		osMessageQueueGet(TimeQHandle, &Timeleft, 2, 100);
		osMessageQueueGet(VolumeLeftQHandle, &Volumeleft, 2, 100);
		osMessageQueueGet(TotalVolQHandle,&Totalvol,1,10);
		osMessageQueueGet(AlarmsQHandle, &event, 2, 10);
		osMessageQueueGet(BatteryQHandle, &battstate, 1, 1);
		osMessageQueueGet(patientQHandle, &patient, 1, 1);
		osMessageQueueGet(drugQHandle, &drug, 1, 1);
		sprintf(data.jsondata,
				"{\n  \"InfusionState\": {\n    \"FlowRate\": \"%f\",\n    \"TotalVolume\": \"%f\",\n    \"VolumeLeft\": \"%f\",\n    \"TimeLeft\": \"%f\"\n  },\n  \"AlarmsAndAlerts\": \"%u\",\n  \"BatteryState\": {\n    \"Percent\": \"%u\",\n    \"TimeToEmpty\": \"%u\"\n  },\n  \"Patient\": {\n    \"Name\": \"%s\",\n    \"Age\": \"%u\",\n    \"Height\": \"%u\",\n    \"Weight\": \"%u\",\n    \"Gender\": \"%s\"\n  },\n  \"Drug\": \"%s\"\n\t}",
				(Flowrate/1000), (Totalvol/1000), (Volumeleft/1000), Timeleft, event,
				battstate.charge_level, battstate.TimeToEmpty,
				patient.name, patient.age, patient.height, patient.weight,
				patient.gender, drug.Name);
		HTTPSPUT(URL, data.jsondata);
		osMessageQueuePut(LogQHandle, &data, 1, 5);
		osDelay(10);

	}
  /* USER CODE END Cloud_Connectivity */
}

void Sensors_measurements(void *argument)
{
  /* USER CODE BEGIN Sensors_measurements */
	float volumeleft = 0, totalvol=0, timeleft = 0;
	uint16_t laststep = 0, traveled_steps = 0;
	float Flowrate = 0, volume_to_inject = 0;
	HAL_ADC_Start_IT(&hadc3);
	/* Infinite loop */
	for (;;) {
		osMessageQueueGet(FlowRateQHandle, &Flowrate, 5, 10);
		osMessageQueueGet(VolumeQHandle, &volume_to_inject, 5, 10);
		osMessageQueueGet(TotalVolQHandle,&totalvol,1,10);
		osMessageQueueGet(LastStepQHandle, &laststep, 1, 10);
		if (Flowrate != 0 && volume_to_inject != 0 && laststep != 0) {
			traveled_steps = position();
			volumeleft = calculate_volume_left(traveled_steps, Flowrate, volume_to_inject); //mm^3
			timeleft = volumeleft / Flowrate; // seconds
			if (traveled_steps >= laststep || (totalvol-volumeleft) < 0 || timeleft <= 0)
				osMessageQueuePut(ModeQHandle, 0, 10U, 10U); //***** 0=> StopMode,8=> PauseMode ******
			osMessageQueuePut(VolumeLeftQHandle, &volumeleft, 1, 5);
			osMessageQueuePut(TimeQHandle, &timeleft, 1, 5);
		}

		osDelay(10);
	}
  /* USER CODE END Sensors_measurements */
}

void Interface(void *argument)
{
  /* USER CODE BEGIN Interface */
	perfusionFV_parameters msgPerfusionParameters;
	msgPerfusionParameters.mode = 0;
	/* Infinite loop */
	for (;;) {
		// ***** 0 => StopMode , 8=> PauseMode *******

		if (osMessageQueueGet(InfusionQHandle, &msgPerfusionParameters, 10U,
				100) == osOK && msgPerfusionParameters.mode != 0
				&& msgPerfusionParameters.mode != 8) {
			msgPerfusionParameters.flowrate.value *= 1000; // cm^3/h ==> mm^3/h
			msgPerfusionParameters.infusion_volume.value *= 1000; // cm^3 ==> mm^3
			msgPerfusionParameters.total_volume.value*=1000; // cm^3 ==> mm^3
			osMessageQueuePut(FlowRateQHandle, &msgPerfusionParameters.flowrate.value,
					5, 100);
			osMessageQueuePut(VolumeQHandle,
					&msgPerfusionParameters.infusion_volume.value, 5, 100);
			osMessageQueuePut(ModeQHandle, &msgPerfusionParameters.mode, 5,
					10);
			osMessageQueuePut(TotalVolQHandle, &msgPerfusionParameters.total_volume.value, 5, 10);
		} else
			osMessageQueuePut(ModeQHandle, &msgPerfusionParameters.mode, 5,
					10);
		osDelay(10);
	}
  /* USER CODE END Interface */
}

void StartDataStorage(void *argument)
{
  /* USER CODE BEGIN StartDataStorage */
	FRESULT res; /* FatFs function common result code */
	uint32_t byteswritten; /* File write/read counts */
	uint8_t wtext[550] = "";
	uint8_t rtext[_MAX_SS];/* File read buffer */
	Log data;
	uint8_t event; // Alarm or event ID (number)
	RTC_DateTypeDef sdatestructure;
	RTC_TimeTypeDef stimestructure;
	extern RTC_HandleTypeDef hrtc;

	/* Infinite loop */
	for (;;) {
		HAL_RTC_GetDate(&hrtc, &sdatestructure, RTC_FORMAT_BIN);
		HAL_RTC_GetTime(&hrtc, &stimestructure, RTC_FORMAT_BIN);
		osMessageQueueGet(LogQHandle, &data, 1, 100);
		if(data.isStart==1)
			sprintf(wtext, "%02d/%02d/%02d %02d:%02d:%02d\n %s\n%s\r\n",
				2000 + sdatestructure.Year, sdatestructure.Month,
				sdatestructure.Date, stimestructure.Hours,
				stimestructure.Minutes, stimestructure.Seconds,data.clickevents,data.jsondata);// yy/mm/dd h:m:s
		else
			osMessageQueueGet(AlarmsQHandle, &event, 1, 10);
			sprintf(wtext,"%02d/%02d/%02d %02d:%02d:%02d\n %s\n Alarms/Alerts: %u\r\n",
				2000 + sdatestructure.Year, sdatestructure.Month,
				sdatestructure.Date, stimestructure.Hours,
				stimestructure.Minutes, stimestructure.Seconds,data.clickevents,event);
		if (f_mount(&SDFatFS, (TCHAR const*) SDPath, 0) != FR_OK) {
			Error_Handler(); // Alerts_Action(internal_soft);
		} else {
			if (f_mkfs((TCHAR const*) SDPath, FM_ANY, 0, rtext, sizeof(rtext))
					!= FR_OK) {
				Error_Handler();
			} else {
				//Open file for writing (Create)
				if (f_open(&SDFile, "SWlog.TXT", FA_CREATE_ALWAYS | FA_WRITE)
						!= FR_OK) {
					Error_Handler();
				} else {
					//Write to the text file
					res = f_write(&SDFile, wtext,
							strlen((char*) wtext),
							(void*) &byteswritten);
					if ((byteswritten == 0) || (res != FR_OK)) {
						Error_Handler();
					} else {

						f_close(&SDFile);
					}
				}
			}
		}
		f_mount(&SDFatFS, (TCHAR const*) NULL, 0);
		osDelay(1000);
	}
  /* USER CODE END StartDataStorage */
}

/************************ (C) COPYRIGHT STMicroelectronics *****END OF FILE****/
